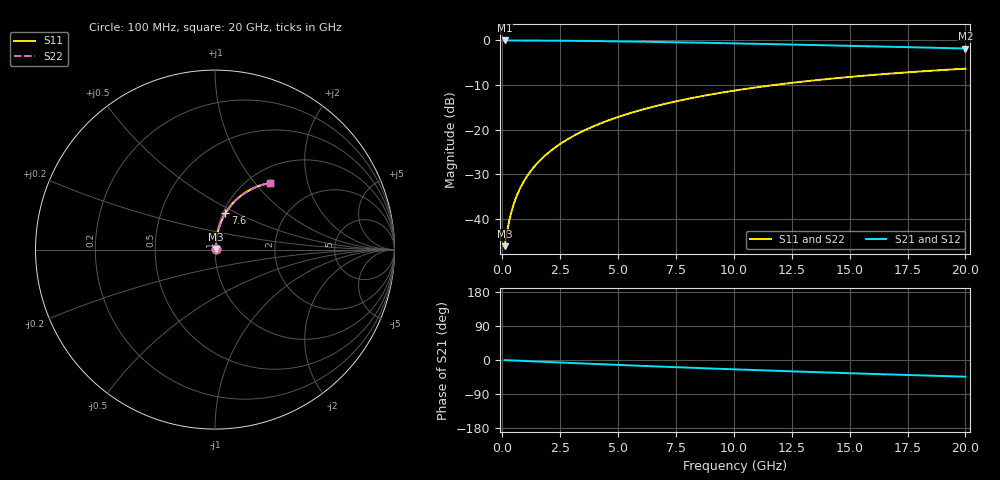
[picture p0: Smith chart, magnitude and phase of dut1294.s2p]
! Touchstone file exported from HFSS 2024.1.0
!  File:  C:/UserFiles/LocalFiles/RDL_TSV_Batchsim/temp_RDL_bottom_1294_1780247194.aedt
!  Generated:  01:09:29 AM Jun  1, 2026
!  Design:  RDL_bottom
!  Project:  temp_RDL_bottom_1294_1780247194
!  Setup:  Setup1
!  Solution:  Sweep
! Variables:
!  dtsv = 10.80580581um
!  hbump = 3um
!  htsv = 53.98um
!  ldown = 548.83um
!  lrdl = 100um
!  p = 40
!  p1 = 59.78um
!  rhole = 1um
!  t = 450um
!  tdown = 3.03um
!  trdl = 3.915915916um
!  wdown = 16.47um
!  wrdl = 20um
# GHz S MA R 50.000000
! Terminal data exported
! Port[1] = RDL1_T1
! Port[2] = RDL1_T2
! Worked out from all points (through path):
!   200 points, 100 MHz to 20 GHz, reference 50 ohm
!   highest |S21| = -0.04 dB at 100 MHz (marker M1); lowest = -1.8 dB at 20 GHz (marker M2)
!   group delay of S21, straight-line fit = 6.09 ps
!   lowest |S11| = -46.1 dB at 100 MHz (marker M3), VSWR 1.01, Z = 50.4 + j0.291 ohm
!   |S11| at or under -10 dB: start of sweep to 11.74 GHz
!   |S22| runs from -46.1 to -6.3 dB; largest |S21 - S12| = 2.7e-15
!   S11 on the Smith chart (normalised r, x): 100 MHz: 1.01, +0.01; 7.6 GHz: 1.03, +0.44; 20 GHz: 1.24, +1.20
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0.1  0.004973 35.5  0.996 -0.3  0.996 -0.3  0.004973 35.5
! Gamma 0 0 0 0
! Port Impedance 50 0 50 0
0.2  0.007093 54.3  0.9958 -0.5  0.9958 -0.5  0.007093 54.3
0.3  0.009594 63.5  0.9957 -0.8  0.9957 -0.8  0.009595 63.5
0.4  0.01221 68.7  0.9955 -1.1  0.9955 -1.1  0.01221 68.7
0.5  0.01487 71.9  0.9953 -1.4  0.9953 -1.4  0.01487 71.9
0.6  0.01754 74.1  0.9951 -1.6  0.9951 -1.6  0.01754 74.1
0.8  0.0229 77.0  0.9947 -2.2  0.9947 -2.2  0.0229 77.0
1.1  0.03098 79.3  0.9941 -2.9  0.9941 -2.9  0.03098 79.3
1.5  0.04184 80.8  0.993 -4.0  0.993 -4.0  0.04184 80.8
1.8  0.05002 81.4  0.992 -4.8  0.992 -4.8  0.05002 81.4
2.1  0.05825 81.6  0.9909 -5.6  0.9909 -5.6  0.05825 81.6
2.7  0.07478 81.6  0.9882 -7.1  0.9882 -7.1  0.07478 81.6
3.5  0.09695 81.0  0.9838 -9.2  0.9838 -9.2  0.09695 81.0
4.2  0.1164 80.1  0.9792 -11.0  0.9792 -11.0  0.1164 80.1
5  0.1387 78.9  0.9732 -13.0  0.9732 -13.0  0.1387 78.9
5.9  0.1637 77.4  0.9658 -15.2  0.9658 -15.2  0.1637 77.3
6.8  0.1885 75.7  0.9576 -17.3  0.9576 -17.3  0.1885 75.7
7.6  0.2102 74.1  0.9498 -19.2  0.9498 -19.2  0.2102 74.1
10.1  0.2758 69.1  0.9236 -24.8  0.9236 -24.8  0.2758 69.1
13.4  0.3546 62.4  0.8861 -31.8  0.8861 -31.8  0.3546 62.4
16.7  0.4232 56.2  0.8475 -38.1  0.8475 -38.1  0.4232 56.2
20  0.4816 50.4  0.8094 -44.0  0.8094 -44.0  0.4816 50.4
